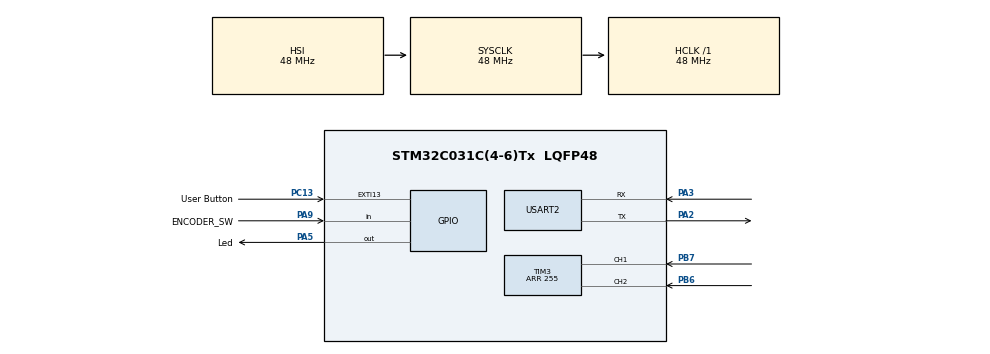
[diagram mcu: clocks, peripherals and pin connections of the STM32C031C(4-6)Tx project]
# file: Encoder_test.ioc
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Mcu.Family=STM32C0
Mcu.Name=STM32C031C(4-6)Tx
Mcu.Package=LQFP48
NVIC.EXTI4_15_IRQn=true\:0\:0\:false\:false\:true\:true\:true\:true
PA13.Mode=Serial_Wire
PA13.Signal=DEBUG_SWDIO
PA14-BOOT0.Mode=Serial_Wire
PA14-BOOT0.Signal=DEBUG_SWCLK
PA2.Mode=Asynchronous
PA2.Signal=USART2_TX
PA3.Mode=Asynchronous
PA3.Signal=USART2_RX
PA5.GPIO_Label=Led
PA5.GPIO_Speed=GPIO_SPEED_FREQ_VERY_HIGH
PA5.PinState=GPIO_PIN_SET
PA5.Signal=GPIO_Output
PA9.GPIO_Label=ENCODER_SW
PA9.Signal=GPIO_Input
PB6.Signal=S_TIM3_CH2
PB7.Signal=S_TIM3_CH1
PC13.GPIO_Label=User Button
PC13.Signal=GPXTI13
PC14-OSCX_IN\ (PC14).Mode=LSE-External-Oscillator
PC14-OSCX_IN\ (PC14).Signal=RCC_OSCX_IN
PC15-OSCX_OUT\ (PC15).Mode=LSE-External-Oscillator
PC15-OSCX_OUT\ (PC15).Signal=RCC_OSCX_OUT
PF0-OSC_IN\ (PF0).Mode=HSE-External-Oscillator
PF0-OSC_IN\ (PF0).Signal=RCC_OSC_IN
PF1-OSC_OUT\ (PF1).Mode=HSE-External-Oscillator
PF1-OSC_OUT\ (PF1).Signal=RCC_OSC_OUT
ProjectManager.HeapSize=0x200
ProjectManager.StackSize=0x400
ProjectManager.TargetToolchain=STM32CubeIDE
RCC.ADCFreq_Value=48000000
RCC.AHBFreq_Value=48000000
RCC.CortexFreq_Value=48000000
RCC.EXTERNAL_CLOCK_VALUE=12288000
RCC.HCLKFreq_Value=48000000
RCC.HSE_VALUE=48000000
RCC.HSISYSCLKDivider=RCC_HSI_DIV1
RCC.HSI_VALUE=48000000
RCC.SYSCLKFreq_VALUE=48000000
SH.S_TIM3_CH1.0=TIM3_CH1,Encoder_Interface
SH.S_TIM3_CH2.0=TIM3_CH2,Encoder_Interface
TIM3.AutoReloadPreload=TIM_AUTORELOAD_PRELOAD_ENABLE
TIM3.ClockDivision=TIM_CLOCKDIVISION_DIV2
TIM3.EncoderMode=TIM_ENCODERMODE_TI1
TIM3.Period=255
USART2.VirtualMode-Asynchronous=VM_ASYNC
board=NUCLEO-C031C6

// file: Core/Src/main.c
/* USER CODE BEGIN Header */
/**
  ******************************************************************************
  * @file           : main.c
  * @brief          : Main program body
  *
  * Print to UART2 (COMx) the direction of the encoder and dim led
  ******************************************************************************
  * @attention
  *
  * Copyright (c) 2024 STMicroelectronics.
  * All rights reserved.
  *
  * This software is licensed under terms that can be found in the LICENSE file
  * in the root directory of this software component.
  * If no LICENSE file comes with this software, it is provided AS-IS.
  *
  ******************************************************************************
  */
/* USER CODE END Header */
#include "main.h"

/* USER CODE BEGIN Includes */
#include "string.h"
#include "encoder.h"
#include "stdio.h"

/* USER CODE END Includes */

TIM_HandleTypeDef htim3;

UART_HandleTypeDef huart2;

/* USER CODE BEGIN PV */

ENC_Handle encoder;

volatile uint32_t counter = 0;
uint32_t prev_count = 0;

/* USER CODE END PV */

void SystemClock_Config(void);
static void MX_GPIO_Init(void);
static void MX_TIM3_Init(void);
static void MX_USART2_UART_Init(void);

/* USER CODE BEGIN 0 */

volatile uint32_t counter;
uint32_t prevCountPrintDebug;

/* USER CODE END 0 */

int main(void)
{
  /* USER CODE BEGIN 1 */
	uint8_t MSG[100] = {'\0'};

  /* USER CODE END 1 */

  /* MCU Configuration--------------------------------------------------------*/

  /* Reset of all peripherals, Initializes the Flash interface and the Systick. */
  HAL_Init();

  /* Configure the system clock */
  SystemClock_Config();

  /* USER CODE BEGIN SysInit */
  SysTick_Config(SystemCoreClock / 1000); //set to 1ms per tick

  /* USER CODE END SysInit */

  /* Initialize all configured peripherals */
  MX_GPIO_Init();
  MX_TIM3_Init();
  MX_USART2_UART_Init();
  /* USER CODE BEGIN 2 */
  ENC_Init(&encoder, &htim3, GPIOA, GPIO_PIN_9);

  //HAL_TIM_PWM_Start(&htim1, TIM_CHANNEL_1);

  sprintf( (char*) MSG, "Encoder Test\n\r");
  HAL_UART_Transmit(&huart2, MSG, sizeof(MSG), 100);

  //sprintf((char*) MSG, "Encoder rotated counterclockwise, Encoder Ticks = %lu\n\r", ((TIM3->CNT)));
  uint8_t encoder_count = 0;
  int button_count = 0;

  int dir_count = 0;
  /* USER CODE END 2 */

  /* Infinite loop */
  /* USER CODE BEGIN WHILE */
  while (1)
  {
	  encoder_count = ENC_GetCount(&encoder);
	  if (ENC_ReadSwitch(&encoder) && counter - prevCountPrintDebug > 10) {
		  button_count++;
		  sprintf( (char*) MSG, "Button Pressed: %d, dir:%d\n\r          ", button_count, encoder_count);
		  HAL_UART_Transmit(&huart2, MSG, sizeof(MSG), 100);
		  prevCountPrintDebug = counter;

	  }

	  if (ENC_CountChange(&encoder) == 1) {
		  sprintf( (char*) MSG, "count Changed: %d, dir count: %d\n\r       ", encoder_count, dir_count);
		  HAL_UART_Transmit(&huart2, MSG, sizeof(MSG), 100);
		  dir_count++;
	  }

    /* USER CODE END WHILE */

  }
}

void SystemClock_Config(void)
{
  RCC_OscInitTypeDef RCC_OscInitStruct = {0};
  RCC_ClkInitTypeDef RCC_ClkInitStruct = {0};

  /** Initializes the RCC Oscillators according to the specified parameters
  * in the RCC_OscInitTypeDef structure.
  */
  RCC_OscInitStruct.OscillatorType = RCC_OSCILLATORTYPE_HSI;
  RCC_OscInitStruct.HSIState = RCC_HSI_ON;
  RCC_OscInitStruct.HSIDiv = RCC_HSI_DIV1;
  RCC_OscInitStruct.HSICalibrationValue = RCC_HSICALIBRATION_DEFAULT;
  if (HAL_RCC_OscConfig(&RCC_OscInitStruct) != HAL_OK)
  {
    Error_Handler();
  }

  /** Initializes the CPU, AHB and APB buses clocks
  */
  RCC_ClkInitStruct.ClockType = RCC_CLOCKTYPE_HCLK|RCC_CLOCKTYPE_SYSCLK
                              |RCC_CLOCKTYPE_PCLK1;
  RCC_ClkInitStruct.SYSCLKSource = RCC_SYSCLKSOURCE_HSI;
  RCC_ClkInitStruct.SYSCLKDivider = RCC_SYSCLK_DIV1;
  RCC_ClkInitStruct.AHBCLKDivider = RCC_HCLK_DIV1;
  RCC_ClkInitStruct.APB1CLKDivider = RCC_APB1_DIV1;

  if (HAL_RCC_ClockConfig(&RCC_ClkInitStruct, FLASH_LATENCY_1) != HAL_OK)
  {
    Error_Handler();
  }
}

static void MX_TIM3_Init(void)
{

  TIM_Encoder_InitTypeDef sConfig = {0};
  TIM_MasterConfigTypeDef sMasterConfig = {0};

  htim3.Instance = TIM3;
  htim3.Init.Prescaler = 0;
  htim3.Init.CounterMode = TIM_COUNTERMODE_UP;
  htim3.Init.Period = 255;
  htim3.Init.ClockDivision = TIM_CLOCKDIVISION_DIV2;
  htim3.Init.AutoReloadPreload = TIM_AUTORELOAD_PRELOAD_ENABLE;
  sConfig.EncoderMode = TIM_ENCODERMODE_TI1;
  sConfig.IC1Polarity = TIM_ICPOLARITY_RISING;
  sConfig.IC1Selection = TIM_ICSELECTION_DIRECTTI;
  sConfig.IC1Prescaler = TIM_ICPSC_DIV1;
  sConfig.IC1Filter = 0;
  sConfig.IC2Polarity = TIM_ICPOLARITY_RISING;
  sConfig.IC2Selection = TIM_ICSELECTION_DIRECTTI;
  sConfig.IC2Prescaler = TIM_ICPSC_DIV1;
  sConfig.IC2Filter = 0;
  if (HAL_TIM_Encoder_Init(&htim3, &sConfig) != HAL_OK)
  {
    Error_Handler();
  }
  sMasterConfig.MasterOutputTrigger = TIM_TRGO_RESET;
  sMasterConfig.MasterSlaveMode = TIM_MASTERSLAVEMODE_DISABLE;
  if (HAL_TIMEx_MasterConfigSynchronization(&htim3, &sMasterConfig) != HAL_OK)
  {
    Error_Handler();
  }

}

static void MX_USART2_UART_Init(void)
{

  huart2.Instance = USART2;
  huart2.Init.BaudRate = 115200;
  huart2.Init.WordLength = UART_WORDLENGTH_8B;
  huart2.Init.StopBits = UART_STOPBITS_1;
  huart2.Init.Parity = UART_PARITY_NONE;
  huart2.Init.Mode = UART_MODE_TX_RX;
  huart2.Init.HwFlowCtl = UART_HWCONTROL_NONE;
  huart2.Init.OverSampling = UART_OVERSAMPLING_16;
  huart2.Init.OneBitSampling = UART_ONE_BIT_SAMPLE_DISABLE;
  huart2.Init.ClockPrescaler = UART_PRESCALER_DIV1;
  huart2.AdvancedInit.AdvFeatureInit = UART_ADVFEATURE_NO_INIT;
  if (HAL_UART_Init(&huart2) != HAL_OK)
  {
    Error_Handler();
  }

}

static void MX_GPIO_Init(void)
{
  GPIO_InitTypeDef GPIO_InitStruct = {0};

  /* GPIO Ports Clock Enable */
  __HAL_RCC_GPIOC_CLK_ENABLE();
  __HAL_RCC_GPIOF_CLK_ENABLE();
  __HAL_RCC_GPIOA_CLK_ENABLE();
  __HAL_RCC_GPIOB_CLK_ENABLE();

  /*Configure GPIO pin Output Level */
  HAL_GPIO_WritePin(Led_GPIO_Port, Led_Pin, GPIO_PIN_SET);

  /*Configure GPIO pin : User_Button_Pin */
  GPIO_InitStruct.Pin = User_Button_Pin;
  GPIO_InitStruct.Mode = GPIO_MODE_IT_RISING;
  GPIO_InitStruct.Pull = GPIO_NOPULL;
  HAL_GPIO_Init(User_Button_GPIO_Port, &GPIO_InitStruct);

  /*Configure GPIO pin : Led_Pin */
  GPIO_InitStruct.Pin = Led_Pin;
  GPIO_InitStruct.Mode = GPIO_MODE_OUTPUT_PP;
  GPIO_InitStruct.Pull = GPIO_NOPULL;
  GPIO_InitStruct.Speed = GPIO_SPEED_FREQ_VERY_HIGH;
  HAL_GPIO_Init(Led_GPIO_Port, &GPIO_InitStruct);

  /*Configure GPIO pin : ENCODER_SW_Pin */
  GPIO_InitStruct.Pin = ENCODER_SW_Pin;
  GPIO_InitStruct.Mode = GPIO_MODE_INPUT;
  GPIO_InitStruct.Pull = GPIO_NOPULL;
  HAL_GPIO_Init(ENCODER_SW_GPIO_Port, &GPIO_InitStruct);

  /* EXTI interrupt init*/
  HAL_NVIC_SetPriority(EXTI4_15_IRQn, 0, 0);
  HAL_NVIC_EnableIRQ(EXTI4_15_IRQn);

}

void Error_Handler(void)
{
  __disable_irq();
  while (1)
  {
  }
}
